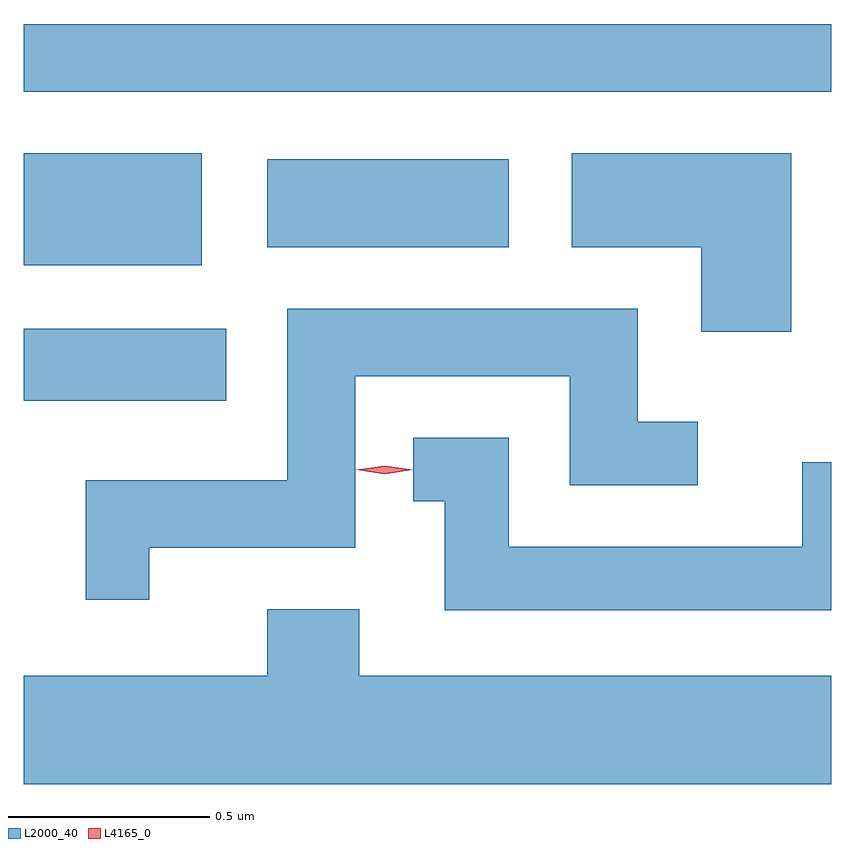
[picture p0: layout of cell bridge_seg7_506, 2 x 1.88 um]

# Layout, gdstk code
import gdstk
lib = gdstk.Library(unit=1e-6, precision=1e-09)
def R(c, l, rs):  # rectangles x0, y0, x1, y1
    for r in rs: c.add(gdstk.rectangle(r[:2], r[2:], *l))
def P(c, l, *ps):  # polygons
    for p in ps: c.add(gdstk.Polygon(p, *l))
L2000_40 = (2000, 40)
L4165_0 = (4165, 0)

bridge_seg7_506 = lib.new_cell('bridge_seg7_506')
R(bridge_seg7_506, L2000_40, [(1447.858,1724.146,1448.359,1724.324), (1447.858,1724.481,1448.299,1724.759), (1448.461,1724.526,1449.059,1724.744), (1447.858,1724.911,1449.858,1725.079)])
P(bridge_seg7_506, L2000_40, [(1449.759,1724.759),(1449.216,1724.759),(1449.216,1724.526),(1449.536,1724.526),(1449.536,1724.316),(1449.759,1724.316)],
  [(1448.169,1723.781),(1448.679,1723.781),(1448.679,1724.206),(1449.211,1724.206),(1449.211,1723.936),(1449.528,1723.936),(1449.528,1724.094),(1449.379,1724.094),(1449.379,1724.374),(1448.511,1724.374),(1448.511,1723.949),(1448.011,1723.949),(1448.011,1723.653),(1448.169,1723.653)],
  [(1449.858,1723.993),(1449.786,1723.993),(1449.786,1723.784),(1449.059,1723.784),(1449.059,1724.054),(1448.823,1724.054),(1448.823,1723.896),(1448.901,1723.896),(1448.901,1723.626),(1449.858,1723.626)],
  [(1449.858,1723.464),(1448.689,1723.464),(1448.689,1723.629),(1448.461,1723.629),(1448.461,1723.464),(1447.858,1723.464),(1447.858,1723.196),(1449.858,1723.196)])
P(bridge_seg7_506, L4165_0, [(1448.752,1723.964),(1448.682,1723.974),(1448.682,1723.974),(1448.682,1723.975),(1448.752,1723.984),(1448.821,1723.975),(1448.821,1723.974),(1448.821,1723.974)])

lib.write_gds('bridge_seg7_506.gds')
